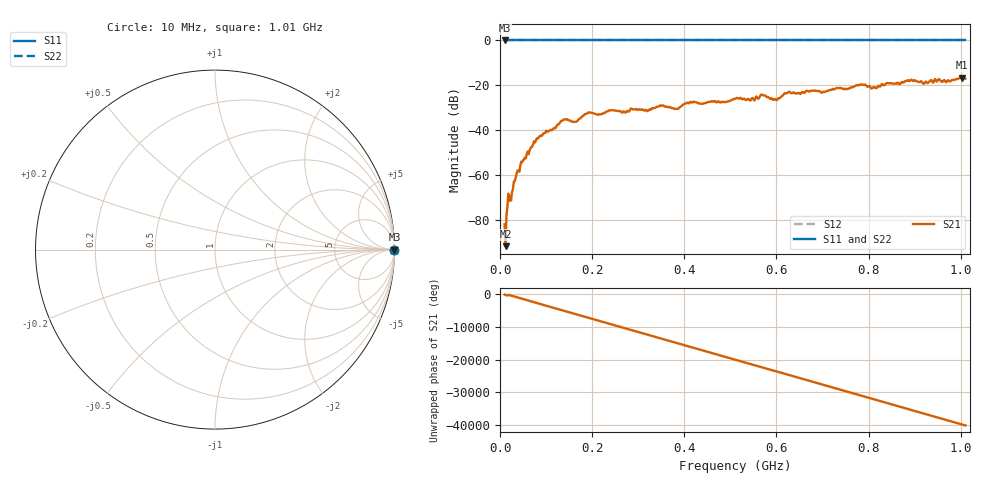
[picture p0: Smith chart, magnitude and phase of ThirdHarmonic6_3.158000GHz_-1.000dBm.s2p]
! 8/17/2025 9:28:33 AM
! C:\ANRITSUVNA\TEMP\TEMP.S2P
! CHANNEL.1
! TR.MEASUREMENT
! RAW.DATA
! RF.CORRECTION.OFF
! AVERAGING.OFF
! IF.BANDWIDTH: 5KHZ
! SWEEPTYPE:  FREQ.SWEEP(Linear)
! Reference Plane Port Info
! PORT:  PORT1  PORT2
! DISTANCE:  0  m  0  m
! TIME:  0  s  0  s
! PHASE.OFFSET:  0  deg.  0  deg.
! LOSS:  0  dB  0  dB
! REF.LOSS:  0  dB  0  dB
! REF.FREQ:  0  Hz  0  Hz
! Power Info
! POWER:  -20  dBm  -20  dBm
! EFF.POWER:  -20  dBm  -20  dBm
! SOURCE.ATTEN:  0  dB  0  dB
! TEST.ATTEN:  0  dB  0  dB
# GHZ S RI R 50.0
! FREQ.GHZ  S11RE  S11IM  S21RE  S21IM  S12RE  S12IM  S22RE  S22IM
!; PortSelection: Port_12
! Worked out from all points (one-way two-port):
!   501 points, 10 MHz to 1.01 GHz, reference 50 ohm
!   highest |S21| = -16.49 dB at 1.002 GHz (marker M1); lowest = -91.6 dB at 12 MHz (marker M2)
!   lowest |S11| = 0.0 dB at 10 MHz (marker M3)
!   |S11| at or under -10 dB: nowhere
!   |S22| runs from 0.0 to 0.0 dB; largest |S21 - S12| = 1.1
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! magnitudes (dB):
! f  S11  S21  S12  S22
! 10 MHz  0.0  -81.9  0.0  0.0
! 12 MHz  0.0  -91.6  0.0  0.0
! 18 MHz  0.0  -68.2  0.0  0.0
! 34 MHz  0.0  -61.2  0.0  0.0
! 48 MHz  0.0  -54.3  0.0  0.0
! 76 MHz  0.0  -45.4  0.0  0.0
! 136 MHz  0.0  -35.7  0.0  0.0
! 164 MHz  0.0  -36.2  0.0  0.0
! 178 MHz  0.0  -33.9  0.0  0.0
! 194 MHz  0.0  -32.1  0.0  0.0
! 322 MHz  0.0  -31.1  0.0  0.0
! 344 MHz  0.0  -29.4  0.0  0.0
! 382 MHz  0.0  -30.5  0.0  0.0
! 410 MHz  0.0  -28.0  0.0  0.0
! 510 MHz  0.0  -26.0  0.0  0.0
! 570 MHz  0.0  -24.3  0.0  0.0
! 598 MHz  0.0  -26.3  0.0  0.0
! 624 MHz  0.0  -23.3  0.0  0.0
! 678 MHz  0.0  -22.4  0.0  0.0
! 844 MHz  0.0  -19.1  0.0  0.0
! 1.002 GHz  0.0  -16.5  0.0  0.0
! 1.01 GHz  0.0  -17.0  0.0  0.0
